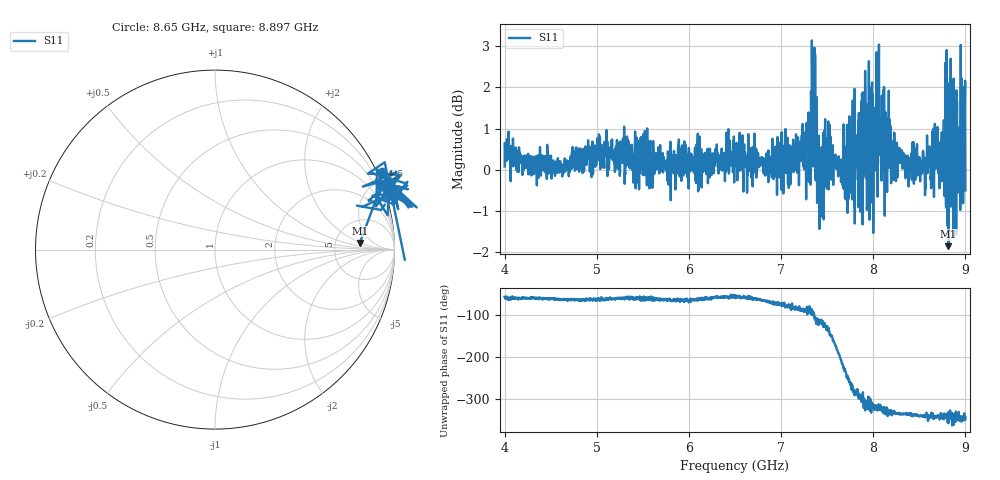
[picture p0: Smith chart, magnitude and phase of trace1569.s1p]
! Created with skrf 1.8.0 (http://scikit-rf.org).
# Hz S RI R 50.0
!freq ReS11 ImS11
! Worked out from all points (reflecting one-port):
!   1601 points, 4 GHz to 9 GHz, reference 50 ohm
!   lowest |S11| = -1.9 dB at 8.816 GHz (marker M1), VSWR 9.40, Z = 449 + j96.7 ohm
!   phase of S11 starts at -55 deg and turns -288 deg over the sweep
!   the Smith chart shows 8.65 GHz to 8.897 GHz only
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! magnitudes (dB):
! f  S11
! 4 GHz  0.1
! 4.625 GHz  -0.2
! 5.25 GHz  -0.2
! 5.875 GHz  0.2
! 6.5 GHz  0.5
! 7.125 GHz  0.3
! 7.297 GHz  1.4
! 7.328 GHz  0.8
! 7.35 GHz  0.1
! 7.381 GHz  0.7
! 7.4 GHz  0.6
! 7.438 GHz  -0.7
! 7.509 GHz  0.2
! 7.669 GHz  0.0
! 7.75 GHz  0.1
! 7.859 GHz  1.1
! 7.891 GHz  0.2
! 7.909 GHz  -0.1
! 7.962 GHz  2.0
! 7.981 GHz  -0.1
! 8.05 GHz  1.7
! 8.209 GHz  0.6
! 8.375 GHz  0.1
! 8.766 GHz  1.2
! 8.816 GHz  -1.9
! 8.875 GHz  0.8
! 8.972 GHz  0.7
! 9 GHz  -0.5
